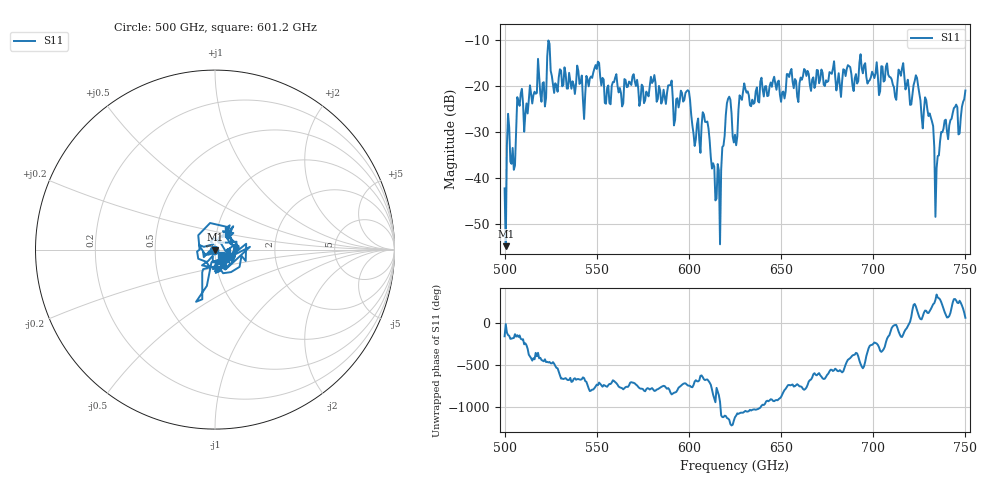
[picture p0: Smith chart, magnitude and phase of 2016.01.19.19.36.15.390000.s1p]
!Created with skrf (http://scikit-rf.org).
# GHz S RI R 50.0
!freq ReS11 ImS11
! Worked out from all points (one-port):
!   401 points, 500 GHz to 750 GHz, reference 50 ohm
!   lowest |S11| = -54.8 dB at 500.6 GHz (marker M1), VSWR 1.00, Z = 50.2 - j0.0453 ohm
!   |S11| at or under -10 dB: start of sweep to end of sweep
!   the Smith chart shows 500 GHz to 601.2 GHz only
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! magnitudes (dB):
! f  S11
! 500 GHz  -42.3
! 500.6 GHz  -54.8
! 502.5 GHz  -29.1
! 505 GHz  -38.2
! 508.1 GHz  -24.4
! 521.2 GHz  -19.2
! 524.4 GHz  -10.9
! 527.5 GHz  -19.5
! 531.2 GHz  -20.1
! 543.8 GHz  -21.8
! 550 GHz  -16.4
! 562.5 GHz  -20.5
! 580.6 GHz  -19.0
! 593.8 GHz  -22.7
! 599.4 GHz  -21.0
! 603.1 GHz  -33.1
! 608.8 GHz  -27.8
! 615.6 GHz  -37.0
! 621.2 GHz  -22.8
! 625 GHz  -30.6
! 630.6 GHz  -20.7
! 656.2 GHz  -19.1
! 687.5 GHz  -16.0
! 718.8 GHz  -18.7
! 729.4 GHz  -25.2
! 734.4 GHz  -37.8
! 738.1 GHz  -29.3
! 750 GHz  -21.0
